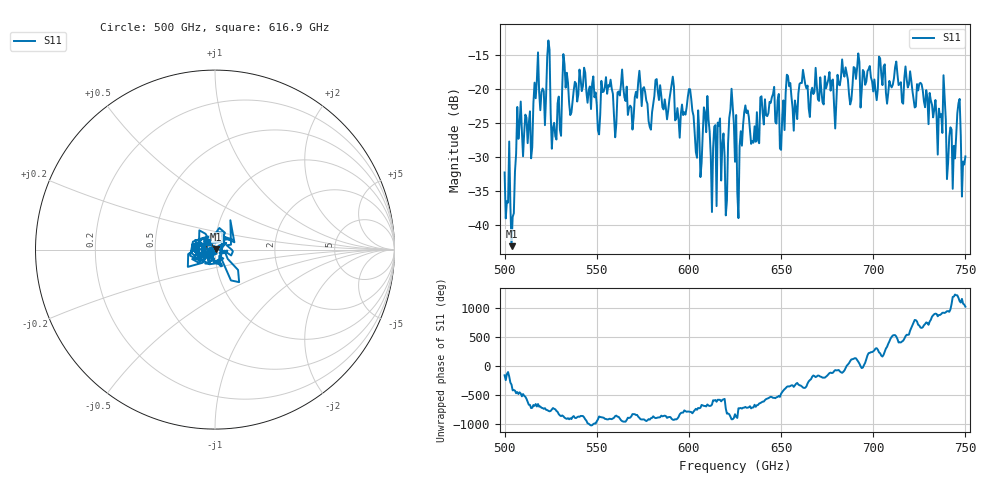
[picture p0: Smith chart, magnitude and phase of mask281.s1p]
!Created with skrf (http://scikit-rf.org).
# GHz S MA R 50.0
!freq magS11 angS11
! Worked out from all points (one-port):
!   401 points, 500 GHz to 750 GHz, reference 50 ohm
!   lowest |S11| = -43.1 dB at 503.8 GHz (marker M1), VSWR 1.01, Z = 50.6 + j0.417 ohm
!   |S11| at or under -10 dB: start of sweep to end of sweep
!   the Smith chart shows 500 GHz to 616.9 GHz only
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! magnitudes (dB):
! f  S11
! 500 GHz  -32.3
! 503.8 GHz  -43.1
! 507.5 GHz  -27.4
! 513.8 GHz  -23.3
! 516.9 GHz  -21.4
! 523.8 GHz  -12.9
! 526.9 GHz  -25.0
! 531.2 GHz  -19.9
! 562.5 GHz  -21.0
! 578.8 GHz  -25.6
! 590.6 GHz  -19.4
! 593.8 GHz  -22.9
! 600.6 GHz  -20.1
! 605.6 GHz  -26.4
! 609.4 GHz  -26.4
! 619.4 GHz  -30.0
! 623.1 GHz  -20.0
! 625 GHz  -30.7
! 627.5 GHz  -28.4
! 631.2 GHz  -23.6
! 635 GHz  -27.9
! 656.2 GHz  -22.9
! 687.5 GHz  -22.3
! 718.8 GHz  -19.8
! 738.1 GHz  -18.0
! 741.9 GHz  -25.7
! 746.2 GHz  -22.1
! 750 GHz  -30.0
